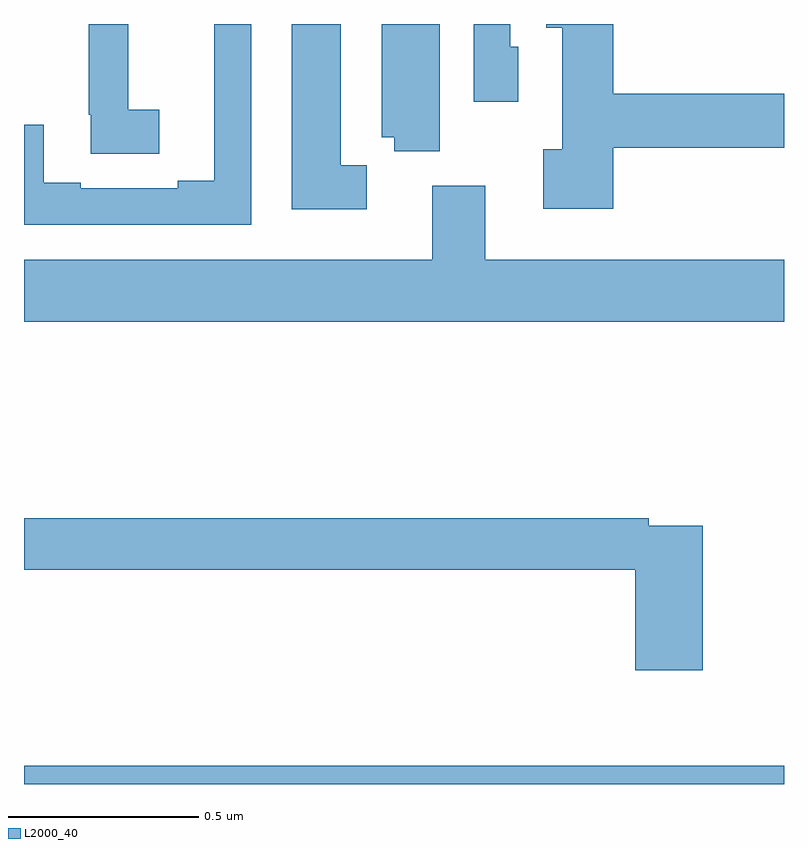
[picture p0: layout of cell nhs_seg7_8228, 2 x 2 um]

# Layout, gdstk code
import gdstk
lib = gdstk.Library(unit=1e-6, precision=1e-09)
def R(c, l, rs):  # rectangles x0, y0, x1, y1
    for r in rs: c.add(gdstk.rectangle(r[:2], r[2:], *l))
def P(c, l, *ps):  # polygons
    for p in ps: c.add(gdstk.Polygon(p, *l))
L2000_40 = (2000, 40)

nhs_seg7_8228 = lib.new_cell('nhs_seg7_8228')
R(nhs_seg7_8228, L2000_40, [(221,1066,223,1066.048)])
P(nhs_seg7_8228, L2000_40, [(222.551,1067.674),(223,1067.674),(223,1067.816),(222.551,1067.816),(222.551,1068),(222.374,1068),(222.374,1067.99),(222.416,1067.99),(222.416,1067.67),(222.366,1067.67),(222.366,1067.514),(222.551,1067.514)],
  [(221.902,1067.628),(221.833,1067.628),(221.833,1068),(221.705,1068),(221.705,1067.513),(221.902,1067.513)],
  [(221.598,1068),(221.5,1068),(221.5,1067.851),(221.501,1067.851),(221.501,1067.588),(221.405,1067.588),(221.405,1067.568),(221.149,1067.568),(221.149,1067.582),(221.052,1067.582),(221.052,1067.735),(221,1067.735),(221,1067.472),(221.598,1067.472)],
  [(222.094,1068),(221.942,1068),(221.942,1067.702),(221.974,1067.702),(221.974,1067.665),(222.094,1067.665)],
  [(221.356,1067.774),(221.274,1067.774),(221.274,1068),(221.17,1068),(221.17,1067.761),(221.176,1067.761),(221.176,1067.659),(221.356,1067.659)],
  [(222.3,1067.94),(222.279,1067.94),(222.279,1068),(222.183,1068),(222.183,1067.796),(222.3,1067.796)],
  [(223,1067.38),(222.214,1067.38),(222.214,1067.575),(222.074,1067.575),(222.074,1067.38),(221,1067.38),(221,1067.216),(223,1067.216)],
  [(222.786,1066.68),(222.644,1066.68),(222.644,1066.7),(221,1066.7),(221,1066.564),(222.608,1066.564),(222.608,1066.299),(222.786,1066.299)])

lib.write_gds('nhs_seg7_8228.gds')
